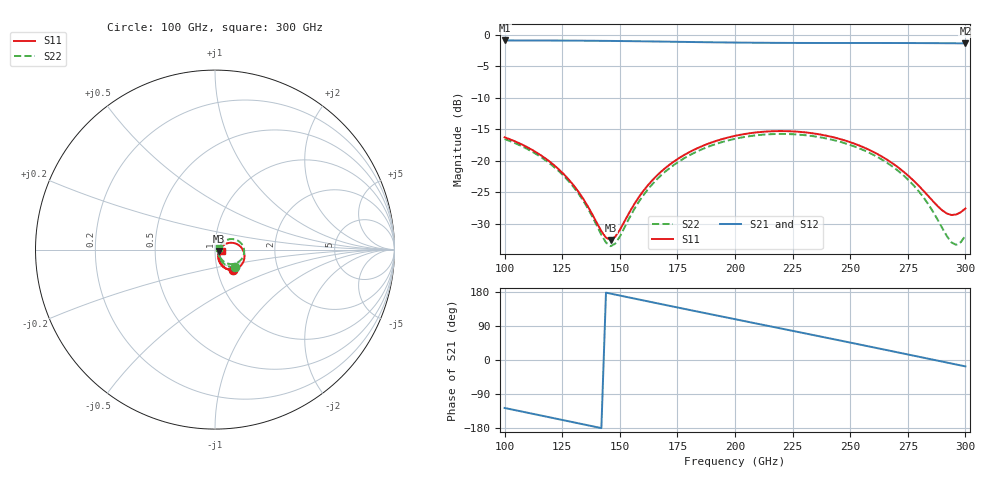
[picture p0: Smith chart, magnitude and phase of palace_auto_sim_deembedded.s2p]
! Created with skrf 1.11.0 (http://scikit-rf.org).
# GHz S DB R 50.0
!freq dBS11 angS11 dBS21 angS21 dBS12 angS12 dBS22 angS22
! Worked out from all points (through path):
!   101 points, 100 GHz to 300 GHz, reference 50 ohm
!   highest |S21| = -0.89 dB at 100 GHz (marker M1); lowest = -1.4 dB at 300 GHz (marker M2)
!   group delay of S21, straight-line fit = 3.47 ps
!   lowest |S11| = -32.6 dB at 146 GHz (marker M3), VSWR 1.05, Z = 52.3 - j0.825 ohm
!   |S11| at or under -10 dB: start of sweep to end of sweep
!   |S22| runs from -33.6 to -15.8 dB; largest |S21 - S12| = 9.9e-14
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100  -16.29 -48.2  -0.89 -126.6  -0.89 -126.6  -16.57 -40.8
110  -17.89 -58.0  -0.89 -139.2  -0.89 -139.2  -18.18 -49.9
120  -20.28 -66.4  -0.90 -151.8  -0.90 -151.8  -20.56 -57.8
128  -23.07 -70.3  -0.92 -162.0  -0.92 -162.0  -23.35 -61.6
134  -26.00 -69.1  -0.93 -169.6  -0.93 -169.6  -26.29 -60.5
142  -31.21 -48.0  -0.95 -179.7  -0.95 -179.7  -31.78 -40.8
146  -32.59 -19.6  -0.97 175.2  -0.97 175.2  -33.59 -11.3
148  -32.10 -4.5  -0.97 172.7  -0.97 172.7  -33.20 5.5
150  -31.01 7.6  -0.98 170.1  -0.98 170.1  -32.07 19.2
160  -24.92 27.8  -1.03 157.5  -1.03 157.5  -25.61 41.7
168  -21.72 26.3  -1.07 147.4  -1.07 147.4  -22.30 40.6
182  -18.31 15.7  -1.14 130.0  -1.14 130.0  -18.81 30.7
200  -16.06 -2.0  -1.22 107.7  -1.22 107.7  -16.52 13.9
216  -15.33 -18.7  -1.27 88.0  -1.27 88.0  -15.78 -2.2
234  -15.67 -37.4  -1.29 65.8  -1.29 65.8  -16.11 -20.5
252  -17.32 -54.7  -1.29 43.5  -1.29 43.5  -17.77 -38.2
268  -20.33 -66.2  -1.30 23.4  -1.30 23.4  -20.84 -51.7
280  -24.08 -66.3  -1.31 8.3  -1.31 8.3  -24.98 -56.4
290  -27.92 -47.3  -1.33 -4.3  -1.33 -4.3  -30.73 -42.4
294  -28.64 -31.5  -1.34 -9.3  -1.34 -9.3  -33.01 -21.0
296  -28.56 -22.9  -1.34 -11.8  -1.34 -11.8  -33.38 -6.0
300  -27.60 -8.1  -1.36 -16.9  -1.36 -16.9  -31.94 21.0
